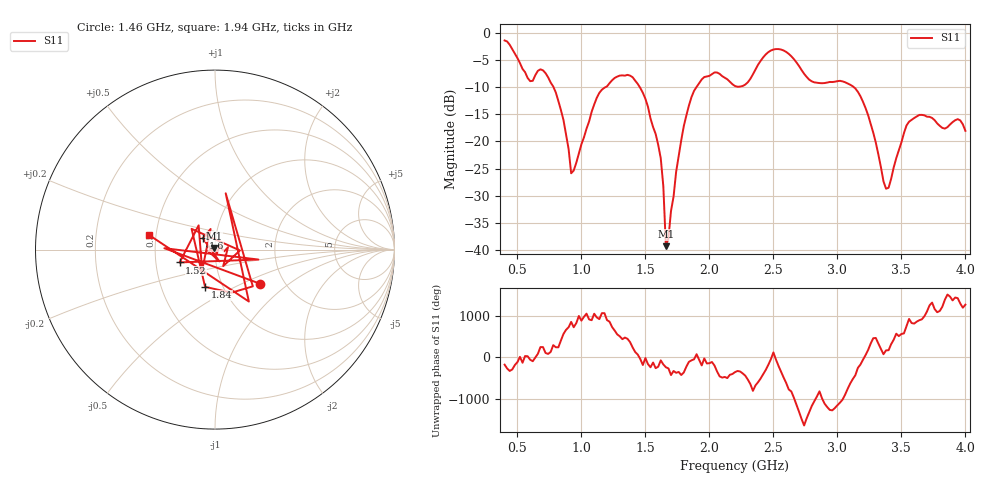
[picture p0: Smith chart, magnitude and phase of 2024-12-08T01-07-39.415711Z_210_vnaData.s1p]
!Created with skrf (http://scikit-rf.org).
# Hz S RI R 50.0
!freq ReS11 ImS11
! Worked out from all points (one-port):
!   181 points, 400 MHz to 4 GHz, reference 50 ohm
!   lowest |S11| = -39.3 dB at 1.66 GHz (marker M1), VSWR 1.02, Z = 49.4 + j0.884 ohm
!   |S11| at or under -10 dB: 782.9 MHz to 1.185 GHz (402 MHz wide, 40.9 % of centre); 1.457 GHz to 1.898 GHz (440.3 MHz wide, 26.2 % of centre); 3.13 GHz to end of sweep
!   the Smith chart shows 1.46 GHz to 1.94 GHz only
!   S11 on the Smith chart (normalised r, x): 1.46 GHz: 1.50, -0.63; 1.52 GHz: 0.67, -0.10; 1.6 GHz: 0.87, +0.11; 1.84 GHz: 0.82, -0.36; 1.94 GHz: 0.46, +0.09
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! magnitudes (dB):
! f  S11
! 400 MHz  -1.3
! 600 MHz  -8.8
! 720 MHz  -7.4
! 860 MHz  -16.0
! 920 MHz  -25.9
! 1.12 GHz  -11.9
! 1.3 GHz  -7.8
! 1.46 GHz  -10.1
! 1.52 GHz  -13.6
! 1.6 GHz  -20.6
! 1.64 GHz  -28.3
! 1.66 GHz  -39.3
! 1.68 GHz  -37.9
! 1.76 GHz  -22.7
! 1.84 GHz  -13.4
! 1.94 GHz  -8.5
! 2.06 GHz  -7.2
! 2.2 GHz  -9.7
! 2.3 GHz  -9.1
! 2.48 GHz  -3.2
! 2.66 GHz  -4.8
! 2.8 GHz  -8.9
! 3.1 GHz  -9.5
! 3.24 GHz  -15.1
! 3.38 GHz  -28.7
! 3.56 GHz  -16.3
! 3.94 GHz  -15.9
! 4 GHz  -18.0
